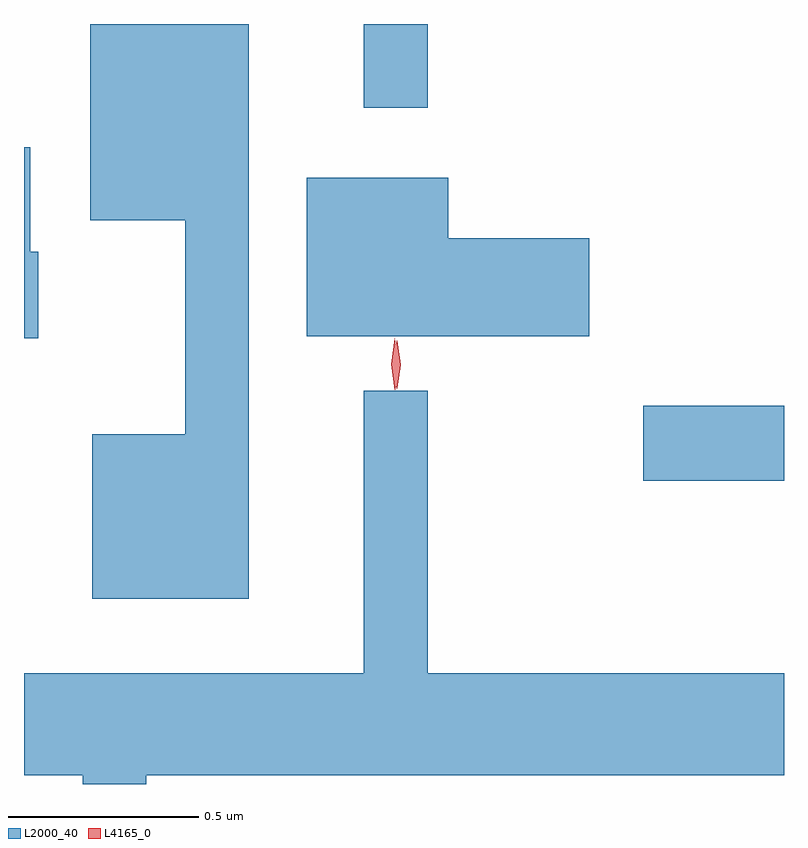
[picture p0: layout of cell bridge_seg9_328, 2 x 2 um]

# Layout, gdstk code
import gdstk
lib = gdstk.Library(unit=1e-6, precision=1e-09)
def R(c, l, rs):  # rectangles x0, y0, x1, y1
    for r in rs: c.add(gdstk.rectangle(r[:2], r[2:], *l))
def P(c, l, *ps):  # polygons
    for p in ps: c.add(gdstk.Polygon(p, *l))
L2000_40 = (2000, 40)
L4165_0 = (4165, 0)

bridge_seg9_328 = lib.new_cell('bridge_seg9_328')
R(bridge_seg9_328, L2000_40, [(967.106,2052.531,967.477,2052.729), (966.371,2053.512,966.539,2053.733)])
P(bridge_seg9_328, L2000_40, [(966.069,2053.733),(965.651,2053.733),(965.651,2053.216),(965.901,2053.216),(965.901,2052.654),(965.656,2052.654),(965.656,2052.221),(966.069,2052.221)],
  [(965.514,2053.134),(965.494,2053.134),(965.494,2053.409),(965.477,2053.409),(965.477,2052.906),(965.514,2052.906)],
  [(966.964,2053.169),(966.594,2053.169),(966.594,2053.329),(966.221,2053.329),(966.221,2052.911),(966.964,2052.911)],
  [(965.799,2051.756),(967.477,2051.756),(967.477,2052.024),(966.539,2052.024),(966.539,2052.768),(966.371,2052.768),(966.371,2052.024),(965.477,2052.024),(965.477,2051.756),(965.631,2051.756),(965.631,2051.733),(965.799,2051.733)])
P(bridge_seg9_328, L4165_0, [(966.452,2052.77),(966.443,2052.838),(966.452,2052.905),(966.452,2052.906),(966.453,2052.905),(966.462,2052.838),(966.454,2052.77),(966.453,2052.77)],
  [(966.458,2052.773),(966.458,2052.774),(966.448,2052.836),(966.458,2052.899),(966.458,2052.9),(966.459,2052.899),(966.468,2052.836),(966.459,2052.774)])

lib.write_gds('bridge_seg9_328.gds')
